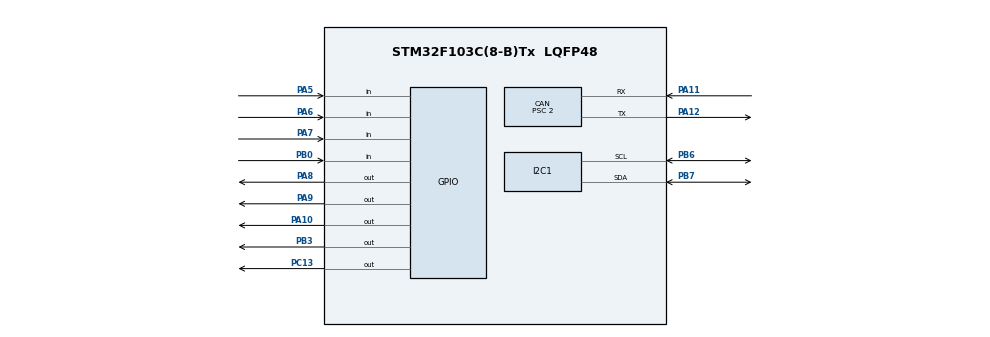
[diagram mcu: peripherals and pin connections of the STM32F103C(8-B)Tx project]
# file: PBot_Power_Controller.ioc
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CAN.BS1=CAN_BS1_13TQ
CAN.BS2=CAN_BS2_2TQ
CAN.CalculateBaudRate=250000
CAN.CalculateTimeBit=4000
CAN.CalculateTimeQuantum=250.0
CAN.Prescaler=2
Mcu.Family=STM32F1
Mcu.Name=STM32F103C(8-B)Tx
Mcu.Package=LQFP48
NVIC.CAN1_RX1_IRQn=true\:0\:0\:false\:false\:true\:true\:true\:true
NVIC.PriorityGroup=NVIC_PRIORITYGROUP_4
NVIC.TIM2_IRQn=true\:0\:0\:false\:false\:true\:true\:true\:true
PA10.Signal=GPIO_Output
PA11.GPIO_PuPd=GPIO_PULLUP
PA11.Mode=CAN_Activate
PA11.Signal=CAN_RX
PA12.Mode=CAN_Activate
PA12.Signal=CAN_TX
PA13.Mode=Serial_Wire
PA13.Signal=SYS_JTMS-SWDIO
PA14.Mode=Serial_Wire
PA14.Signal=SYS_JTCK-SWCLK
PA5.Signal=GPIO_Input
PA6.Signal=GPIO_Input
PA7.Signal=GPIO_Input
PA8.Signal=GPIO_Output
PA9.Signal=GPIO_Output
PB0.Signal=GPIO_Input
PB3.Signal=GPIO_Output
PB6.Mode=I2C
PB6.Signal=I2C1_SCL
PB7.Mode=I2C
PB7.Signal=I2C1_SDA
PC13-TAMPER-RTC.Signal=GPIO_Output
ProjectManager.HeapSize=0x200
ProjectManager.StackSize=0x400
ProjectManager.TargetToolchain=CMake
RCC.APB1Freq_Value=8000000
RCC.APB2Freq_Value=8000000
TIM2.Period=1000
TIM2.Prescaler=80-1
VP_TIM2_VS_ClockSourceINT.Mode=Internal
board=custom

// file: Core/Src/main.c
/* USER CODE BEGIN Header */
/**
 ******************************************************************************
 * @file           : main.c
 * @brief          : Main program body
 ******************************************************************************
 * @attention
 *
 * Copyright (c) 2026 STMicroelectronics.
 * All rights reserved.
 *
 * This software is licensed under terms that can be found in the LICENSE file
 * in the root directory of this software component.
 * If no LICENSE file comes with this software, it is provided AS-IS.
 *
 ******************************************************************************
 */
/* USER CODE END Header */
#include "main.h"

/* USER CODE BEGIN Includes */
#include "canbus.h"
#include "stm32f103xb.h"
#include "stm32f1xx_hal.h"
#include "stm32f1xx_hal_can.h"
#include "stm32f1xx_hal_def.h"
#include "stm32f1xx_hal_gpio.h"
#include "stm32f1xx_hal_tim.h"
#include "structs.h"

/* USER CODE END Includes */

CAN_HandleTypeDef hcan;

I2C_HandleTypeDef hi2c1;

TIM_HandleTypeDef htim2;

/* USER CODE BEGIN PV */
volatile uint8_t count_10ms  = 0;
volatile uint8_t count_100ms = 0;
volatile uint8_t count_1s    = 0;
volatile uint8_t flag_reg    = 0x00;
uint16_t         count       = 0;

PowerController pc;

/* USER CODE END PV */

void        SystemClock_Config(void);
static void MX_GPIO_Init(void);
static void MX_I2C1_Init(void);
static void MX_TIM2_Init(void);
static void MX_CAN_Init(void);

int main(void) {

    /* MCU Configuration--------------------------------------------------------*/

    /* Reset of all peripherals, Initializes the Flash interface and the Systick. */
    HAL_Init();

    /* Configure the system clock */
    SystemClock_Config();

    /* Initialize all configured peripherals */
    MX_GPIO_Init();
    MX_I2C1_Init();
    MX_TIM2_Init();
    MX_CAN_Init();
    /* USER CODE BEGIN 2 */
    pc_init(&pc, &hi2c1);
    can_init(&hcan);
    HAL_TIM_Base_Start_IT(&htim2);
    /* USER CODE END 2 */

    /* Infinite loop */
    /* USER CODE BEGIN WHILE */
    while (1) {
        if (flag_reg & (1 << 0)) {  // per 10 ms
            flag_reg &= ~(1 << 0);

            pc_reply(&pc);
        }
        if (flag_reg & (1 << 1)) {  // per 100ms
            flag_reg &= ~(1 << 1);
        }
        if (flag_reg & (1 << 2)) {  // per s
            flag_reg &= ~(1 << 2);
            HAL_GPIO_TogglePin(GPIOC, GPIO_PIN_13);
            pc_ina_update(&pc);
            pc_check_dc_in(&pc);

            count += 10;
        }
        /* USER CODE END WHILE */

    }
}

void SystemClock_Config(void) {
    RCC_OscInitTypeDef RCC_OscInitStruct = {0};
    RCC_ClkInitTypeDef RCC_ClkInitStruct = {0};

    /** Initializes the RCC Oscillators according to the specified parameters
     * in the RCC_OscInitTypeDef structure.
     */
    RCC_OscInitStruct.OscillatorType      = RCC_OSCILLATORTYPE_HSI;
    RCC_OscInitStruct.HSIState            = RCC_HSI_ON;
    RCC_OscInitStruct.HSICalibrationValue = RCC_HSICALIBRATION_DEFAULT;
    RCC_OscInitStruct.PLL.PLLState        = RCC_PLL_NONE;
    if (HAL_RCC_OscConfig(&RCC_OscInitStruct) != HAL_OK) {
        Error_Handler();
    }

    /** Initializes the CPU, AHB and APB buses clocks
     */
    RCC_ClkInitStruct.ClockType      = RCC_CLOCKTYPE_HCLK | RCC_CLOCKTYPE_SYSCLK | RCC_CLOCKTYPE_PCLK1 | RCC_CLOCKTYPE_PCLK2;
    RCC_ClkInitStruct.SYSCLKSource   = RCC_SYSCLKSOURCE_HSI;
    RCC_ClkInitStruct.AHBCLKDivider  = RCC_SYSCLK_DIV1;
    RCC_ClkInitStruct.APB1CLKDivider = RCC_HCLK_DIV1;
    RCC_ClkInitStruct.APB2CLKDivider = RCC_HCLK_DIV1;

    if (HAL_RCC_ClockConfig(&RCC_ClkInitStruct, FLASH_LATENCY_0) != HAL_OK) {
        Error_Handler();
    }
}

static void MX_CAN_Init(void) {

    hcan.Instance                  = CAN1;
    hcan.Init.Prescaler            = 2;
    hcan.Init.Mode                 = CAN_MODE_NORMAL;
    hcan.Init.SyncJumpWidth        = CAN_SJW_1TQ;
    hcan.Init.TimeSeg1             = CAN_BS1_13TQ;
    hcan.Init.TimeSeg2             = CAN_BS2_2TQ;
    hcan.Init.TimeTriggeredMode    = DISABLE;
    hcan.Init.AutoBusOff           = DISABLE;
    hcan.Init.AutoWakeUp           = DISABLE;
    hcan.Init.AutoRetransmission   = DISABLE;
    hcan.Init.ReceiveFifoLocked    = DISABLE;
    hcan.Init.TransmitFifoPriority = DISABLE;
    if (HAL_CAN_Init(&hcan) != HAL_OK) {
        Error_Handler();
    }
}

static void MX_I2C1_Init(void) {

    hi2c1.Instance             = I2C1;
    hi2c1.Init.ClockSpeed      = 100000;
    hi2c1.Init.DutyCycle       = I2C_DUTYCYCLE_2;
    hi2c1.Init.OwnAddress1     = 0;
    hi2c1.Init.AddressingMode  = I2C_ADDRESSINGMODE_7BIT;
    hi2c1.Init.DualAddressMode = I2C_DUALADDRESS_DISABLE;
    hi2c1.Init.OwnAddress2     = 0;
    hi2c1.Init.GeneralCallMode = I2C_GENERALCALL_DISABLE;
    hi2c1.Init.NoStretchMode   = I2C_NOSTRETCH_DISABLE;
    if (HAL_I2C_Init(&hi2c1) != HAL_OK) {
        Error_Handler();
    }
}

static void MX_TIM2_Init(void) {

    TIM_ClockConfigTypeDef  sClockSourceConfig = {0};
    TIM_MasterConfigTypeDef sMasterConfig      = {0};

    htim2.Instance               = TIM2;
    htim2.Init.Prescaler         = 80 - 1;
    htim2.Init.CounterMode       = TIM_COUNTERMODE_UP;
    htim2.Init.Period            = 1000;
    htim2.Init.ClockDivision     = TIM_CLOCKDIVISION_DIV1;
    htim2.Init.AutoReloadPreload = TIM_AUTORELOAD_PRELOAD_DISABLE;
    if (HAL_TIM_Base_Init(&htim2) != HAL_OK) {
        Error_Handler();
    }
    sClockSourceConfig.ClockSource = TIM_CLOCKSOURCE_INTERNAL;
    if (HAL_TIM_ConfigClockSource(&htim2, &sClockSourceConfig) != HAL_OK) {
        Error_Handler();
    }
    sMasterConfig.MasterOutputTrigger = TIM_TRGO_RESET;
    sMasterConfig.MasterSlaveMode     = TIM_MASTERSLAVEMODE_DISABLE;
    if (HAL_TIMEx_MasterConfigSynchronization(&htim2, &sMasterConfig) != HAL_OK) {
        Error_Handler();
    }
}

static void MX_GPIO_Init(void) {
    GPIO_InitTypeDef GPIO_InitStruct = {0};

    /* GPIO Ports Clock Enable */
    __HAL_RCC_GPIOC_CLK_ENABLE();
    __HAL_RCC_GPIOD_CLK_ENABLE();
    __HAL_RCC_GPIOA_CLK_ENABLE();
    __HAL_RCC_GPIOB_CLK_ENABLE();

    /*Configure GPIO pin Output Level */
    HAL_GPIO_WritePin(GPIOC, GPIO_PIN_13, GPIO_PIN_RESET);

    /*Configure GPIO pin Output Level */
    HAL_GPIO_WritePin(GPIOA, GPIO_PIN_8 | GPIO_PIN_9 | GPIO_PIN_10, GPIO_PIN_RESET);

    /*Configure GPIO pin Output Level */
    HAL_GPIO_WritePin(GPIOB, GPIO_PIN_3, GPIO_PIN_RESET);

    /*Configure GPIO pin : PC13 */
    GPIO_InitStruct.Pin   = GPIO_PIN_13;
    GPIO_InitStruct.Mode  = GPIO_MODE_OUTPUT_PP;
    GPIO_InitStruct.Pull  = GPIO_NOPULL;
    GPIO_InitStruct.Speed = GPIO_SPEED_FREQ_LOW;
    HAL_GPIO_Init(GPIOC, &GPIO_InitStruct);

    /*Configure GPIO pins : PC14 PC15 */
    GPIO_InitStruct.Pin  = GPIO_PIN_14 | GPIO_PIN_15;
    GPIO_InitStruct.Mode = GPIO_MODE_ANALOG;
    HAL_GPIO_Init(GPIOC, &GPIO_InitStruct);

    /*Configure GPIO pins : PD0 PD1 */
    GPIO_InitStruct.Pin  = GPIO_PIN_0 | GPIO_PIN_1;
    GPIO_InitStruct.Mode = GPIO_MODE_ANALOG;
    HAL_GPIO_Init(GPIOD, &GPIO_InitStruct);

    /*Configure GPIO pins : PA0 PA1 PA2 PA3
                             PA4 PA15 */
    GPIO_InitStruct.Pin  = GPIO_PIN_0 | GPIO_PIN_1 | GPIO_PIN_2 | GPIO_PIN_3 | GPIO_PIN_4 | GPIO_PIN_15;
    GPIO_InitStruct.Mode = GPIO_MODE_ANALOG;
    HAL_GPIO_Init(GPIOA, &GPIO_InitStruct);

    /*Configure GPIO pins : PA5 PA6 PA7 */
    GPIO_InitStruct.Pin  = GPIO_PIN_5 | GPIO_PIN_6 | GPIO_PIN_7;
    GPIO_InitStruct.Mode = GPIO_MODE_INPUT;
    GPIO_InitStruct.Pull = GPIO_NOPULL;
    HAL_GPIO_Init(GPIOA, &GPIO_InitStruct);

    /*Configure GPIO pin : PB0 */
    GPIO_InitStruct.Pin  = GPIO_PIN_0;
    GPIO_InitStruct.Mode = GPIO_MODE_INPUT;
    GPIO_InitStruct.Pull = GPIO_NOPULL;
    HAL_GPIO_Init(GPIOB, &GPIO_InitStruct);

    /*Configure GPIO pins : PB1 PB2 PB10 PB11
                             PB12 PB13 PB14 PB15
                             PB4 PB5 PB8 PB9 */
    GPIO_InitStruct.Pin  = GPIO_PIN_1 | GPIO_PIN_2 | GPIO_PIN_10 | GPIO_PIN_11 | GPIO_PIN_12 | GPIO_PIN_13 | GPIO_PIN_14 | GPIO_PIN_15 | GPIO_PIN_4 | GPIO_PIN_5 | GPIO_PIN_8 | GPIO_PIN_9;
    GPIO_InitStruct.Mode = GPIO_MODE_ANALOG;
    HAL_GPIO_Init(GPIOB, &GPIO_InitStruct);

    /*Configure GPIO pins : PA8 PA9 PA10 */
    GPIO_InitStruct.Pin   = GPIO_PIN_8 | GPIO_PIN_9 | GPIO_PIN_10;
    GPIO_InitStruct.Mode  = GPIO_MODE_OUTPUT_PP;
    GPIO_InitStruct.Pull  = GPIO_NOPULL;
    GPIO_InitStruct.Speed = GPIO_SPEED_FREQ_LOW;
    HAL_GPIO_Init(GPIOA, &GPIO_InitStruct);

    /*Configure GPIO pin : PB3 */
    GPIO_InitStruct.Pin   = GPIO_PIN_3;
    GPIO_InitStruct.Mode  = GPIO_MODE_OUTPUT_PP;
    GPIO_InitStruct.Pull  = GPIO_NOPULL;
    GPIO_InitStruct.Speed = GPIO_SPEED_FREQ_LOW;
    HAL_GPIO_Init(GPIOB, &GPIO_InitStruct);

    /*Configure peripheral I/O remapping */
    __HAL_AFIO_REMAP_PD01_ENABLE();

}

/* USER CODE BEGIN 4 */

void HAL_TIM_PeriodElapsedCallback(TIM_HandleTypeDef* htim) {
    if (htim->Instance == TIM2) {
        flag_reg |= (1 << 0);
        count_10ms++;
        if (count_10ms >= 10) {
            count_10ms = 0;
            flag_reg |= (1 << 1);
            count_100ms++;
            if (count_100ms >= 10) {
                count_100ms = 0;
                flag_reg |= 1 << 2;
            }
        }
    }
}

void HAL_CAN_RxFifo1MsgPendingCallback(CAN_HandleTypeDef* hcan) {
    HAL_CAN_GetRxMessage(hcan, CAN_RX_FIFO1, &RxHeader, RxData);

    switch (RxHeader.StdId) {
        case DATA_REQ:
            switch (RxData[0]) {
                case GET_STAT:
                    pc.state.bits.req_stat = 1;
                    break;
                case GET_INA:
                    pc.state.bits.req_ina = 1;
                    break;
                case GET_ALL:
                    pc.state.bits.req_all = 1;
                    break;
            }
            break;
        case SET_MODE:
            switch (RxData[0]) {
                case SET_PWR_ON:
                    pc.state.bits.mode = MODE_PWR_ON;
                    break;
                case SET_PWR_SAV:
                    pc.state.bits.mode = MODE_PWR_SAV;
                    break;
            }
            break;
    }
}

/* USER CODE END 4 */

void Error_Handler(void) {
    __disable_irq();
    while (1) {
    }
}
